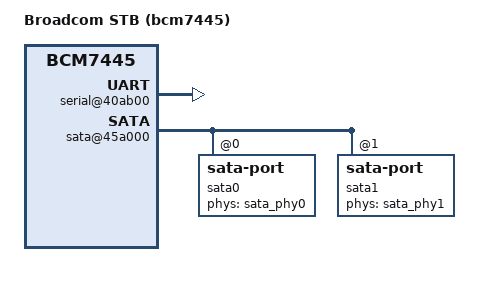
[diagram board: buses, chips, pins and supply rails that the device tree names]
// SPDX-License-Identifier: GPL-2.0
#include <dt-bindings/interrupt-controller/arm-gic.h>

/ {
	#address-cells = <2>;
	#size-cells = <2>;
	model = "Broadcom STB (bcm7445)";
	compatible = "brcm,bcm7445", "brcm,brcmstb";
	interrupt-parent = <&gic>;

	chosen {
		bootargs = "console=ttyS0,115200 earlyprintk";
	};

	cpus {
		#address-cells = <1>;
		#size-cells = <0>;

		cpu@0 {
			compatible = "brcm,brahma-b15";
			device_type = "cpu";
			enable-method = "brcm,brahma-b15";
			reg = <0>;
		};

		cpu@1 {
			compatible = "brcm,brahma-b15";
			device_type = "cpu";
			enable-method = "brcm,brahma-b15";
			reg = <1>;
		};

		cpu@2 {
			compatible = "brcm,brahma-b15";
			device_type = "cpu";
			enable-method = "brcm,brahma-b15";
			reg = <2>;
		};

		cpu@3 {
			compatible = "brcm,brahma-b15";
			device_type = "cpu";
			enable-method = "brcm,brahma-b15";
			reg = <3>;
		};
	};

	gic: interrupt-controller@ffd00000 {
		compatible = "brcm,brahma-b15-gic", "arm,cortex-a15-gic";
		reg = <0x00 0xffd01000 0x00 0x1000>,
		      <0x00 0xffd02000 0x00 0x2000>,
		      <0x00 0xffd04000 0x00 0x2000>,
		      <0x00 0xffd06000 0x00 0x2000>;
		interrupt-controller;
		#interrupt-cells = <3>;
	};

	timer {
		compatible = "arm,armv7-timer";
		interrupts = <GIC_PPI 13 (GIC_CPU_MASK_RAW(15) | IRQ_TYPE_LEVEL_LOW)>,
			     <GIC_PPI 14 (GIC_CPU_MASK_RAW(15) | IRQ_TYPE_LEVEL_LOW)>,
			     <GIC_PPI 11 (GIC_CPU_MASK_RAW(15) | IRQ_TYPE_LEVEL_LOW)>,
			     <GIC_PPI 10 (GIC_CPU_MASK_RAW(15) | IRQ_TYPE_LEVEL_LOW)>;
	};

	rdb@f0000000 {
		#address-cells = <1>;
		#size-cells = <1>;
		compatible = "simple-bus";
		ranges = <0 0x00 0xf0000000 0x1000000>;

		serial@40ab00 {
			compatible = "ns16550a";
			reg = <0x40ab00 0x20>;
			reg-shift = <2>;
			reg-io-width = <4>;
			interrupts = <GIC_SPI 75 IRQ_TYPE_LEVEL_HIGH>;
			clock-frequency = <81000000>;
		};

		sun_top_ctrl: syscon@404000 {
			compatible = "brcm,bcm7445-sun-top-ctrl",
				     "syscon";
			reg = <0x404000 0x51c>;
		};

		hif_cpubiuctrl: syscon@3e2400 {
			compatible = "brcm,bcm7445-hif-cpubiuctrl",
				     "syscon";
			reg = <0x3e2400 0x5b4>;
		};

		hif_continuation: syscon@452000 {
			compatible = "brcm,bcm7445-hif-continuation",
				     "syscon";
			reg = <0x452000 0x100>;
		};

		irq0_intc: interrupt-controller@40a780 {
			compatible = "brcm,bcm7120-l2-intc";
			interrupt-parent = <&gic>;
			#interrupt-cells = <1>;
			reg = <0x40a780 0x8>;
			interrupt-controller;
			interrupts = <GIC_SPI 0x45 0x0>,
				     <GIC_SPI 0x43 0x0>;
			brcm,int-map-mask = <0x25c>, <0x7000000>;
			brcm,int-fwd-mask = <0x70000>;
		};

		irq0_aon_intc: interrupt-controller@417280 {
			compatible = "brcm,bcm7120-l2-intc";
			reg = <0x417280 0x8>;
			interrupt-parent = <&gic>;
			#interrupt-cells = <1>;
			interrupt-controller;
			interrupts = <GIC_SPI 0x46 0x0>,
				     <GIC_SPI 0x44 0x0>,
				     <GIC_SPI 0x49 0x0>;
			brcm,int-map-mask = <0x1e3 0x18000000 0x100000>;
			brcm,int-fwd-mask = <0x0>;
			brcm,irq-can-wake;
		};

		hif_intr2_intc: interrupt-controller@3e1000 {
			compatible = "brcm,l2-intc";
			reg = <0x3e1000 0x30>;
			interrupt-controller;
			#interrupt-cells = <1>;
			interrupts = <GIC_SPI 0x20 0x0>;
			interrupt-parent = <&gic>;
			interrupt-names = "hif";
		};

                aon_pm_l2_intc: interrupt-controller@410640 {
			compatible = "brcm,l2-intc";
			reg = <0x410640 0x30>;
			interrupt-controller;
			#interrupt-cells = <1>;
			interrupts = <GIC_SPI 0x40 0x0>;
			interrupt-parent = <&gic>;
			brcm,irq-can-wake;
		};

		aon-ctrl@410000 {
			compatible = "brcm,brcmstb-aon-ctrl";
			reg = <0x410000 0x200>, <0x410200 0x400>;
			reg-names = "aon-ctrl", "aon-sram";
		};

		nand_controller: nand-controller@3e2800 {
			status = "disabled";
			#address-cells = <1>;
			#size-cells = <0>;
			compatible = "brcm,brcmnand-v7.1", "brcm,brcmnand";
			reg-names = "nand", "flash-dma";
			reg = <0x3e2800 0x600>, <0x3e3000 0x2c>;
			interrupt-parent = <&hif_intr2_intc>;
			interrupts = <24>, <4>;
			interrupt-names = "nand_ctlrdy", "flash_dma_done";
		};

		sata@45a000 {
			compatible = "brcm,bcm7445-ahci", "brcm,sata3-ahci";
			reg-names = "ahci", "top-ctrl";
			reg = <0x45a000 0xa9c>, <0x458040 0x24>;
			interrupts = <GIC_SPI 30 0>;
			#address-cells = <1>;
			#size-cells = <0>;

			sata0: sata-port@0 {
				reg = <0>;
				phys = <&sata_phy0>;
			};

			sata1: sata-port@1 {
				reg = <1>;
				phys = <&sata_phy1>;
			};
		};

		sata_phy: sata-phy@458100 {
			compatible = "brcm,bcm7445-sata-phy", "brcm,phy-sata3";
			reg = <0x458100 0x1f00>;
			reg-names = "phy";
			#address-cells = <0x1>;
			#size-cells = <0x0>;

			sata_phy0: sata-phy@0 {
				reg = <0>;
				#phy-cells = <0>;
			};

			sata_phy1: sata-phy@1 {
				reg = <1>;
				#phy-cells = <0>;
			};
		};

		upg_gio: gpio@40a700 {
			compatible = "brcm,bcm7445-gpio", "brcm,brcmstb-gpio";
			reg = <0x40a700 0x80>;
			#gpio-cells = <2>;
			#interrupt-cells = <2>;
			gpio-controller;
			interrupt-controller;
			interrupt-parent = <&irq0_intc>;
			interrupts = <6>;
			brcm,gpio-bank-widths = <32 32 32 24>;
		};

		upg_gio_aon: gpio@4172c0 {
			compatible = "brcm,bcm7445-gpio", "brcm,brcmstb-gpio";
			reg = <0x4172c0 0x40>;
			#gpio-cells = <2>;
			#interrupt-cells = <2>;
			gpio-controller;
			interrupt-controller;
			interrupts-extended = <&irq0_aon_intc 0x6>,
					      <&aon_pm_l2_intc 0x5>;
			wakeup-source;
			brcm,gpio-bank-widths = <18 4>;
		};

	};

	memory_controllers@f1100000 {
		compatible = "simple-bus";
		ranges = <0x0 0x0 0xf1100000 0x200000>;
		#address-cells = <1>;
		#size-cells = <1>;

		memc@0 {
			compatible = "brcm,brcmstb-memc", "simple-bus";
			#address-cells = <1>;
			#size-cells = <1>;
			ranges = <0x0 0x0 0x80000>;

			memc-ddr@2000 {
				compatible = "brcm,brcmstb-memc-ddr-rev-b.1.x",
					     "brcm,brcmstb-memc-ddr";
				reg = <0x2000 0x800>;
			};

			ddr-phy@6000 {
				compatible = "brcm,brcmstb-ddr-phy-v240.1";
				reg = <0x6000 0x21c>;
				};

			shimphy@8000 {
				compatible = "brcm,brcmstb-ddr-shimphy-v1.0";
				reg = <0x8000 0xe4>;
			};
		};

		memc@80000 {
			compatible = "brcm,brcmstb-memc", "simple-bus";
			#address-cells = <1>;
			#size-cells = <1>;
			ranges = <0x0 0x80000 0x80000>;

			memc-ddr@2000 {
				compatible = "brcm,brcmstb-memc-ddr-rev-b.1.x",
					     "brcm,brcmstb-memc-ddr";
				reg = <0x2000 0x800>;
			};

			ddr-phy@6000 {
				compatible = "brcm,brcmstb-ddr-phy-v240.1";
				reg = <0x6000 0x21c>;
			};

			shimphy@8000 {
				compatible = "brcm,brcmstb-ddr-shimphy-v1.0";
				reg = <0x8000 0xe4>;
			};
		};

		memc@100000 {
			compatible = "brcm,brcmstb-memc", "simple-bus";
			#address-cells = <1>;
			#size-cells = <1>;
			ranges = <0x0 0x100000 0x80000>;

			memc-ddr@2000 {
				compatible = "brcm,brcmstb-memc-ddr-rev-b.1.x",
					     "brcm,brcmstb-memc-ddr";
				reg = <0x2000 0x800>;
			};

			ddr-phy@6000 {
				compatible = "brcm,brcmstb-ddr-phy-v240.1";
				reg = <0x6000 0x21c>;
			};

			shimphy@8000 {
				compatible = "brcm,brcmstb-ddr-shimphy-v1.0";
				reg = <0x8000 0xe4>;
			};
		};
	};

	sram@ffe00000 {
		compatible = "brcm,boot-sram", "mmio-sram";
		reg = <0x0 0xffe00000 0x0 0x10000>;
	};

	smpboot {
		compatible = "brcm,brcmstb-smpboot";
		syscon-cpu = <&hif_cpubiuctrl 0x88 0x178>;
		syscon-cont = <&hif_continuation>;
	};

	reboot {
		compatible = "brcm,brcmstb-reboot";
		syscon = <&sun_top_ctrl 0x304 0x308>;
	};
};
